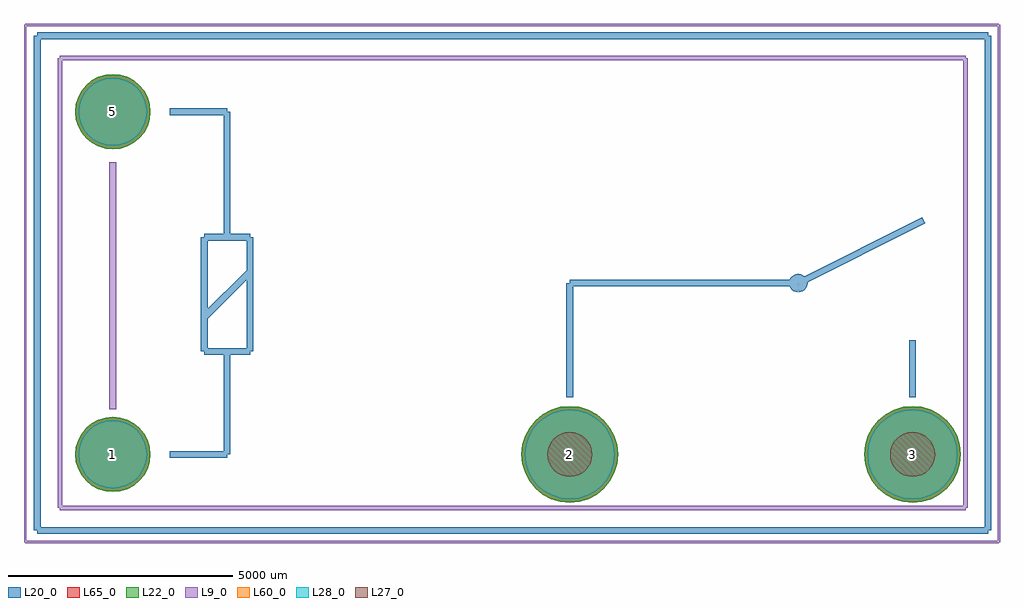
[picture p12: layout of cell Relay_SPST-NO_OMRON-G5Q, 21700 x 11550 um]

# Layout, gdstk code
import gdstk
lib = gdstk.Library(unit=1e-6, precision=1e-09)
def P(c, l, *ps):  # polygons
    for p in ps: c.add(gdstk.Polygon(p, *l))
L9_0 = (9, 0)
L20_0 = (20, 0)
L22_0 = (22, 0)
L27_0 = (27, 0)
L28_0 = (28, 0)
L60_0 = (60, 0)
L65_0 = (65, 0)

relay_spst_no_omron_g5q = lib.new_cell('Relay_SPST-NO_OMRON-G5Q')
P(relay_spst_no_omron_g5q, L22_0, [(835,7620),(818.956,7782.9),(771.439,7939.541),(694.277,8083.901),(590.434,8210.434),(463.901,8314.277),(319.541,8391.439),(162.9,8438.956),(0,8455),(-162.9,8438.956),(-319.541,8391.439),(-463.901,8314.277),(-590.434,8210.434),(-694.277,8083.901),(-771.439,7939.541),(-818.956,7782.9),(-835,7620),(-818.956,7457.1),(-771.439,7300.459),(-694.277,7156.099),(-590.434,7029.566),(-463.901,6925.723),(-319.541,6848.561),(-162.9,6801.044),(0,6785),(162.9,6801.044),(319.541,6848.561),(463.901,6925.723),(590.434,7029.566),(694.277,7156.099),(771.439,7300.459),(818.956,7457.1)],
  [(18855,0),(18834.344,209.722),(18773.17,411.385),(18673.83,597.238),(18540.14,760.14),(18377.238,893.83),(18191.385,993.17),(17989.722,1054.344),(17780,1075),(17570.278,1054.344),(17368.615,993.17),(17182.762,893.83),(17019.86,760.14),(16886.17,597.238),(16786.83,411.385),(16725.656,209.722),(16705,0),(16725.656,-209.722),(16786.83,-411.385),(16886.17,-597.238),(17019.86,-760.14),(17182.762,-893.83),(17368.615,-993.17),(17570.278,-1054.344),(17780,-1075),(17989.722,-1054.344),(18191.385,-993.17),(18377.238,-893.83),(18540.14,-760.14),(18673.83,-597.238),(18773.17,-411.385),(18834.344,-209.722)],
  [(11235,0),(11214.344,209.722),(11153.17,411.385),(11053.83,597.238),(10920.14,760.14),(10757.238,893.83),(10571.385,993.17),(10369.722,1054.344),(10160,1075),(9950.278,1054.344),(9748.615,993.17),(9562.762,893.83),(9399.86,760.14),(9266.17,597.238),(9166.83,411.385),(9105.656,209.722),(9085,0),(9105.656,-209.722),(9166.83,-411.385),(9266.17,-597.238),(9399.86,-760.14),(9562.762,-893.83),(9748.615,-993.17),(9950.278,-1054.344),(10160,-1075),(10369.722,-1054.344),(10571.385,-993.17),(10757.238,-893.83),(10920.14,-760.14),(11053.83,-597.238),(11153.17,-411.385),(11214.344,-209.722)],
  [(835,0),(818.956,162.9),(771.439,319.541),(694.277,463.901),(590.434,590.434),(463.901,694.277),(319.541,771.439),(162.9,818.956),(0,835),(-162.9,818.956),(-319.541,771.439),(-463.901,694.277),(-590.434,590.434),(-694.277,463.901),(-771.439,319.541),(-818.956,162.9),(-835,0),(-818.956,-162.9),(-771.439,-319.541),(-694.277,-463.901),(-590.434,-590.434),(-463.901,-694.277),(-319.541,-771.439),(-162.9,-818.956),(0,-835),(162.9,-818.956),(319.541,-771.439),(463.901,-694.277),(590.434,-590.434),(694.277,-463.901),(771.439,-319.541),(818.956,-162.9)])
P(relay_spst_no_omron_g5q, L27_0, [(18279.999,0),(18270.392,97.545),(18241.939,191.341),(18195.734,277.785),(18133.553,353.553),(18057.785,415.734),(17971.341,461.939),(17877.545,490.392),(17780,499.999),(17682.455,490.392),(17588.659,461.939),(17502.215,415.734),(17426.447,353.553),(17364.266,277.785),(17318.061,191.341),(17289.608,97.545),(17280.001,0),(17289.608,-97.545),(17318.061,-191.341),(17364.266,-277.785),(17426.447,-353.553),(17502.215,-415.734),(17588.659,-461.939),(17682.455,-490.392),(17780,-499.999),(17877.545,-490.392),(17971.341,-461.939),(18057.785,-415.734),(18133.553,-353.553),(18195.734,-277.785),(18241.939,-191.341),(18270.392,-97.545)],
  [(10659.999,0),(10650.392,97.545),(10621.939,191.341),(10575.734,277.785),(10513.553,353.553),(10437.785,415.734),(10351.341,461.939),(10257.545,490.392),(10160,499.999),(10062.455,490.392),(9968.659,461.939),(9882.215,415.734),(9806.447,353.553),(9744.266,277.785),(9698.061,191.341),(9669.608,97.545),(9660.001,0),(9669.608,-97.545),(9698.061,-191.341),(9744.266,-277.785),(9806.447,-353.553),(9882.215,-415.734),(9968.659,-461.939),(10062.455,-490.392),(10160,-499.999),(10257.545,-490.392),(10351.341,-461.939),(10437.785,-415.734),(10513.553,-353.553),(10575.734,-277.785),(10621.939,-191.341),(10650.392,-97.545)])
P(relay_spst_no_omron_g5q, L28_0, [(760,7620),(745.397,7768.269),(702.148,7910.839),(631.917,8042.233),(537.401,8157.401),(422.233,8251.917),(290.839,8322.148),(148.269,8365.397),(0,8380),(-148.269,8365.397),(-290.839,8322.148),(-422.233,8251.917),(-537.401,8157.401),(-631.917,8042.233),(-702.148,7910.839),(-745.397,7768.269),(-760,7620),(-745.397,7471.731),(-702.148,7329.161),(-631.917,7197.767),(-537.401,7082.599),(-422.233,6988.083),(-290.839,6917.852),(-148.269,6874.603),(0,6860),(148.269,6874.603),(290.839,6917.852),(422.233,6988.083),(537.401,7082.599),(631.917,7197.767),(702.148,7329.161),(745.397,7471.731)],
  [(18780,0),(18760.785,195.09),(18703.88,382.683),(18611.47,555.57),(18487.107,707.107),(18335.57,831.47),(18162.683,923.88),(17975.09,980.785),(17780,1000),(17584.91,980.785),(17397.317,923.88),(17224.43,831.47),(17072.893,707.107),(16948.53,555.57),(16856.12,382.683),(16799.215,195.09),(16780,0),(16799.215,-195.09),(16856.12,-382.683),(16948.53,-555.57),(17072.893,-707.107),(17224.43,-831.47),(17397.317,-923.88),(17584.91,-980.785),(17780,-1000),(17975.09,-980.785),(18162.683,-923.88),(18335.57,-831.47),(18487.107,-707.107),(18611.47,-555.57),(18703.88,-382.683),(18760.785,-195.09)],
  [(11160,0),(11140.785,195.09),(11083.88,382.683),(10991.47,555.57),(10867.107,707.107),(10715.57,831.47),(10542.683,923.88),(10355.09,980.785),(10160,1000),(9964.91,980.785),(9777.317,923.88),(9604.43,831.47),(9452.893,707.107),(9328.53,555.57),(9236.12,382.683),(9179.215,195.09),(9160,0),(9179.215,-195.09),(9236.12,-382.683),(9328.53,-555.57),(9452.893,-707.107),(9604.43,-831.47),(9777.317,-923.88),(9964.91,-980.785),(10160,-1000),(10355.09,-980.785),(10542.683,-923.88),(10715.57,-831.47),(10867.107,-707.107),(10991.47,-555.57),(11083.88,-382.683),(11140.785,-195.09)],
  [(760,0),(745.397,148.269),(702.148,290.839),(631.917,422.233),(537.401,537.401),(422.233,631.917),(290.839,702.148),(148.269,745.397),(0,760),(-148.269,745.397),(-290.839,702.148),(-422.233,631.917),(-537.401,537.401),(-631.917,422.233),(-702.148,290.839),(-745.397,148.269),(-760,0),(-745.397,-148.269),(-702.148,-290.839),(-631.917,-422.233),(-537.401,-537.401),(-422.233,-631.917),(-290.839,-702.148),(-148.269,-745.397),(0,-760),(148.269,-745.397),(290.839,-702.148),(422.233,-631.917),(537.401,-537.401),(631.917,-422.233),(702.148,-290.839),(745.397,-148.269)])
P(relay_spst_no_omron_g5q, L60_0, [(760,7620),(745.397,7768.269),(702.148,7910.839),(631.917,8042.233),(537.401,8157.401),(422.233,8251.917),(290.839,8322.148),(148.269,8365.397),(0,8380),(-148.269,8365.397),(-290.839,8322.148),(-422.233,8251.917),(-537.401,8157.401),(-631.917,8042.233),(-702.148,7910.839),(-745.397,7768.269),(-760,7620),(-745.397,7471.731),(-702.148,7329.161),(-631.917,7197.767),(-537.401,7082.599),(-422.233,6988.083),(-290.839,6917.852),(-148.269,6874.603),(0,6860),(148.269,6874.603),(290.839,6917.852),(422.233,6988.083),(537.401,7082.599),(631.917,7197.767),(702.148,7329.161),(745.397,7471.731)],
  [(18780,0),(18760.785,195.09),(18703.88,382.683),(18611.47,555.57),(18487.107,707.107),(18335.57,831.47),(18162.683,923.88),(17975.09,980.785),(17780,1000),(17584.91,980.785),(17397.317,923.88),(17224.43,831.47),(17072.893,707.107),(16948.53,555.57),(16856.12,382.683),(16799.215,195.09),(16780,0),(16799.215,-195.09),(16856.12,-382.683),(16948.53,-555.57),(17072.893,-707.107),(17224.43,-831.47),(17397.317,-923.88),(17584.91,-980.785),(17780,-1000),(17975.09,-980.785),(18162.683,-923.88),(18335.57,-831.47),(18487.107,-707.107),(18611.47,-555.57),(18703.88,-382.683),(18760.785,-195.09)],
  [(11160,0),(11140.785,195.09),(11083.88,382.683),(10991.47,555.57),(10867.107,707.107),(10715.57,831.47),(10542.683,923.88),(10355.09,980.785),(10160,1000),(9964.91,980.785),(9777.317,923.88),(9604.43,831.47),(9452.893,707.107),(9328.53,555.57),(9236.12,382.683),(9179.215,195.09),(9160,0),(9179.215,-195.09),(9236.12,-382.683),(9328.53,-555.57),(9452.893,-707.107),(9604.43,-831.47),(9777.317,-923.88),(9964.91,-980.785),(10160,-1000),(10355.09,-980.785),(10542.683,-923.88),(10715.57,-831.47),(10867.107,-707.107),(10991.47,-555.57),(11083.88,-382.683),(11140.785,-195.09)],
  [(760,0),(745.397,148.269),(702.148,290.839),(631.917,422.233),(537.401,537.401),(422.233,631.917),(290.839,702.148),(148.269,745.397),(0,760),(-148.269,745.397),(-290.839,702.148),(-422.233,631.917),(-537.401,537.401),(-631.917,422.233),(-702.148,290.839),(-745.397,148.269),(-760,0),(-745.397,-148.269),(-702.148,-290.839),(-631.917,-422.233),(-537.401,-537.401),(-422.233,-631.917),(-290.839,-702.148),(-148.269,-745.397),(0,-760),(148.269,-745.397),(290.839,-702.148),(422.233,-631.917),(537.401,-537.401),(631.917,-422.233),(702.148,-290.839),(745.397,-148.269)])
P(relay_spst_no_omron_g5q, L65_0, [(835,7620),(818.956,7782.9),(771.439,7939.541),(694.277,8083.901),(590.434,8210.434),(463.901,8314.277),(319.541,8391.439),(162.9,8438.956),(0,8455),(-162.9,8438.956),(-319.541,8391.439),(-463.901,8314.277),(-590.434,8210.434),(-694.277,8083.901),(-771.439,7939.541),(-818.956,7782.9),(-835,7620),(-818.956,7457.1),(-771.439,7300.459),(-694.277,7156.099),(-590.434,7029.566),(-463.901,6925.723),(-319.541,6848.561),(-162.9,6801.044),(0,6785),(162.9,6801.044),(319.541,6848.561),(463.901,6925.723),(590.434,7029.566),(694.277,7156.099),(771.439,7300.459),(818.956,7457.1)],
  [(18855,0),(18834.344,209.722),(18773.17,411.385),(18673.83,597.238),(18540.14,760.14),(18377.238,893.83),(18191.385,993.17),(17989.722,1054.344),(17780,1075),(17570.278,1054.344),(17368.615,993.17),(17182.762,893.83),(17019.86,760.14),(16886.17,597.238),(16786.83,411.385),(16725.656,209.722),(16705,0),(16725.656,-209.722),(16786.83,-411.385),(16886.17,-597.238),(17019.86,-760.14),(17182.762,-893.83),(17368.615,-993.17),(17570.278,-1054.344),(17780,-1075),(17989.722,-1054.344),(18191.385,-993.17),(18377.238,-893.83),(18540.14,-760.14),(18673.83,-597.238),(18773.17,-411.385),(18834.344,-209.722)],
  [(11235,0),(11214.344,209.722),(11153.17,411.385),(11053.83,597.238),(10920.14,760.14),(10757.238,893.83),(10571.385,993.17),(10369.722,1054.344),(10160,1075),(9950.278,1054.344),(9748.615,993.17),(9562.762,893.83),(9399.86,760.14),(9266.17,597.238),(9166.83,411.385),(9105.656,209.722),(9085,0),(9105.656,-209.722),(9166.83,-411.385),(9266.17,-597.238),(9399.86,-760.14),(9562.762,-893.83),(9748.615,-993.17),(9950.278,-1054.344),(10160,-1075),(10369.722,-1054.344),(10571.385,-993.17),(10757.238,-893.83),(10920.14,-760.14),(11053.83,-597.238),(11153.17,-411.385),(11214.344,-209.722)],
  [(835,0),(818.956,162.9),(771.439,319.541),(694.277,463.901),(590.434,590.434),(463.901,694.277),(319.541,771.439),(162.9,818.956),(0,835),(-162.9,818.956),(-319.541,771.439),(-463.901,694.277),(-590.434,590.434),(-694.277,463.901),(-771.439,319.541),(-818.956,162.9),(-835,0),(-818.956,-162.9),(-771.439,-319.541),(-694.277,-463.901),(-590.434,-590.434),(-463.901,-694.277),(-319.541,-771.439),(-162.9,-818.956),(0,-835),(162.9,-818.956),(319.541,-771.439),(463.901,-694.277),(590.434,-590.434),(694.277,-463.901),(771.439,-319.541),(818.956,-162.9)])
relay_spst_no_omron_g5q.add(gdstk.FlexPath([(15240,3680),(15273.646,3684.43),(15305,3697.417),(15331.924,3718.076),(15352.583,3745),(15365.57,3776.354),(15370,3810),(15365.57,3843.646),(15352.583,3875),(15331.924,3901.924),(15305,3922.583),(15273.646,3935.57),(15240,3940),(15206.354,3935.57),(15175,3922.583),(15148.076,3901.924),(15127.417,3875),(15114.43,3843.646),(15110,3810),(15114.43,3776.354),(15127.417,3745),(15148.076,3718.076),(15175,3697.417),(15206.354,3684.43),(15240,3680)], 149.998, ends="flush", simple_path=True, layer=20, datatype=0))  # L20_0
relay_spst_no_omron_g5q.add(gdstk.FlexPath([(-1680,9310),(19460,9310)], 149.998, ends="flush", simple_path=True, layer=20, datatype=0))  # L20_0
relay_spst_no_omron_g5q.add(gdstk.FlexPath([(-1680,-1690),(-1680,9310)], 149.998, ends="flush", simple_path=True, layer=20, datatype=0))  # L20_0
relay_spst_no_omron_g5q.add(gdstk.FlexPath([(19460,-1690),(19460,9310)], 149.998, ends="flush", simple_path=True, layer=20, datatype=0))  # L20_0
relay_spst_no_omron_g5q.add(gdstk.FlexPath([(-1680,-1690),(19460,-1690)], 149.998, ends="flush", simple_path=True, layer=20, datatype=0))  # L20_0
relay_spst_no_omron_g5q.add(gdstk.FlexPath([(3050,2290),(2540,2290)], 149.998, ends="flush", simple_path=True, layer=20, datatype=0))  # L20_0
relay_spst_no_omron_g5q.add(gdstk.FlexPath([(3050,4830),(3050,2290)], 149.998, ends="flush", simple_path=True, layer=20, datatype=0))  # L20_0
relay_spst_no_omron_g5q.add(gdstk.FlexPath([(2540,4830),(3050,4830)], 149.998, ends="flush", simple_path=True, layer=20, datatype=0))  # L20_0
relay_spst_no_omron_g5q.add(gdstk.FlexPath([(2030,4830),(2540,4830)], 149.998, ends="flush", simple_path=True, layer=20, datatype=0))  # L20_0
relay_spst_no_omron_g5q.add(gdstk.FlexPath([(2030,2290),(2030,4830)], 149.998, ends="flush", simple_path=True, layer=20, datatype=0))  # L20_0
relay_spst_no_omron_g5q.add(gdstk.FlexPath([(2540,2290),(2030,2290)], 149.998, ends="flush", simple_path=True, layer=20, datatype=0))  # L20_0
relay_spst_no_omron_g5q.add(gdstk.FlexPath([(1270,0),(2540,0)], 149.998, ends="flush", simple_path=True, layer=20, datatype=0))  # L20_0
relay_spst_no_omron_g5q.add(gdstk.FlexPath([(2540,0),(2540,2290)], 149.998, ends="flush", simple_path=True, layer=20, datatype=0))  # L20_0
relay_spst_no_omron_g5q.add(gdstk.FlexPath([(2540,4830),(2540,7620)], 149.998, ends="flush", simple_path=True, layer=20, datatype=0))  # L20_0
relay_spst_no_omron_g5q.add(gdstk.FlexPath([(2540,7620),(1270,7620)], 149.998, ends="flush", simple_path=True, layer=20, datatype=0))  # L20_0
relay_spst_no_omron_g5q.add(gdstk.FlexPath([(2030,3050),(3050,4060)], 149.998, ends="flush", simple_path=True, layer=20, datatype=0))  # L20_0
relay_spst_no_omron_g5q.add(gdstk.FlexPath([(10160,3810),(15240,3810)], 149.998, ends="flush", simple_path=True, layer=20, datatype=0))  # L20_0
relay_spst_no_omron_g5q.add(gdstk.FlexPath([(10160,1270),(10160,3810)], 149.998, ends="flush", simple_path=True, layer=20, datatype=0))  # L20_0
relay_spst_no_omron_g5q.add(gdstk.FlexPath([(17780,1270),(17780,2540)], 149.998, ends="flush", simple_path=True, layer=20, datatype=0))  # L20_0
relay_spst_no_omron_g5q.add(gdstk.FlexPath([(15240,3810),(18030,5210)], 149.998, ends="flush", simple_path=True, layer=20, datatype=0))  # L20_0
relay_spst_no_omron_g5q.add(gdstk.FlexPath([(-1950,-1950),(-1950,9550)], 50, ends="flush", simple_path=True, layer=9, datatype=0))  # L9_0
relay_spst_no_omron_g5q.add(gdstk.FlexPath([(19700,-1950),(-1950,-1950)], 50, ends="flush", simple_path=True, layer=9, datatype=0))  # L9_0
relay_spst_no_omron_g5q.add(gdstk.FlexPath([(19700,9550),(19700,-1950)], 50, ends="flush", simple_path=True, layer=9, datatype=0))  # L9_0
relay_spst_no_omron_g5q.add(gdstk.FlexPath([(-1950,9550),(19700,9550)], 50, ends="flush", simple_path=True, layer=9, datatype=0))  # L9_0
relay_spst_no_omron_g5q.add(gdstk.FlexPath([(-1180,8810),(18960,8810)], 100, ends="flush", simple_path=True, layer=9, datatype=0))  # L9_0
relay_spst_no_omron_g5q.add(gdstk.FlexPath([(-1180,-1190),(-1180,8810)], 100, ends="flush", simple_path=True, layer=9, datatype=0))  # L9_0
relay_spst_no_omron_g5q.add(gdstk.FlexPath([(18960,-1190),(-1180,-1190)], 100, ends="flush", simple_path=True, layer=9, datatype=0))  # L9_0
relay_spst_no_omron_g5q.add(gdstk.FlexPath([(18960,8810),(18960,-1190)], 100, ends="flush", simple_path=True, layer=9, datatype=0))  # L9_0
relay_spst_no_omron_g5q.add(gdstk.FlexPath([(0,1000),(0,6500)], 149.998, ends="flush", simple_path=True, layer=9, datatype=0))  # L9_0
relay_spst_no_omron_g5q.add(gdstk.Label('5', (0,7620), layer=28, texttype=0))
relay_spst_no_omron_g5q.add(gdstk.Label('3', (17780,0), layer=28, texttype=0))
relay_spst_no_omron_g5q.add(gdstk.Label('2', (10160,0), layer=28, texttype=0))
relay_spst_no_omron_g5q.add(gdstk.Label('1', (0,0), layer=28, texttype=0))
relay_spst_no_omron_g5q.add(gdstk.Label('type', (8800,-3000), layer=9, texttype=0))
relay_spst_no_omron_g5q.add(gdstk.Label('devicename', (9500,10500), layer=9, texttype=0))

lib.write_gds('Relay_SPST-NO_OMRON-G5Q.gds')
